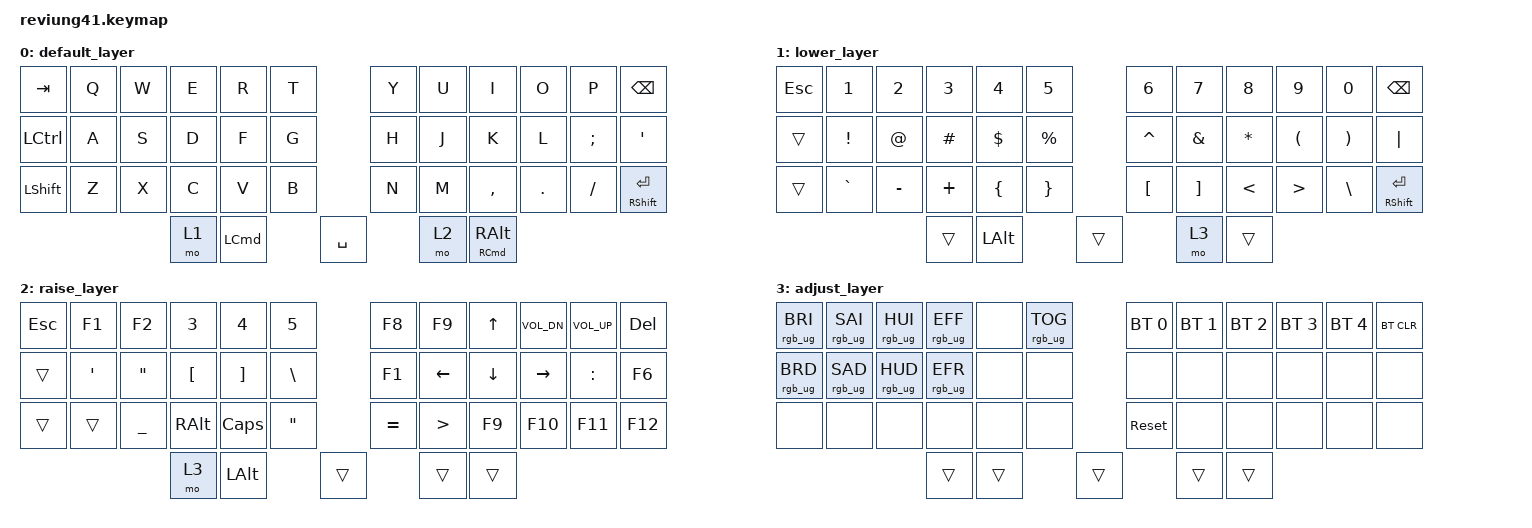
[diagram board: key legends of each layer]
/*
 * Copyright (c) 2020 The ZMK Contributors
 *
 * SPDX-License-Identifier: MIT
 */

#include "reviung41.overlay"

/*
 * https://github.com/zmkfirmware/zmk/pull/1461/files
 */

#include <../boards/shields/reviung41/boards/nice_nano.overlay>
#include <behaviors.dtsi>
#include <dt-bindings/zmk/bt.h>
#include <dt-bindings/zmk/keys.h>
#include <dt-bindings/zmk/rgb.h>

/ {

    behaviors {
        ht_tp: hold_tap {
            compatible = "zmk,behavior-hold-tap";
            #binding-cells = <2>;
            flavor = "tap-preferred";
            tapping-term-ms = <200>;
            quick-tap-ms = <150>;
            require-prior-idle-ms = <125>;
            bindings = <&kp>, <&kp>;
        };
    };

    keymap {
        compatible = "zmk,keymap";

        default_layer {
            // -------------------------------------------------------------------------------------
            // |  TAB |  Q  |  W  |  E  |  R  |  T  |   |  Y  |  U   |  I  |  O  |  P  |   BKSP    |
            // | CTRL |  A  |  S  |  D  |  F  |  G  |   |  H  |  J   |  K  |  L  |  ;  |    '      |
            // | SHFT |  Z  |  X  |  C  |  V  |  B  |   |  N  |  M   |  ,  |  .  |  /  | SHFT(RET) |
            //                         | LCMD | LWR | SPC | RSE  | RCMD |

            bindings = <
&kp TAB    &kp Q  &kp W  &kp E  &kp R             &kp T             &kp Y  &kp U  &kp I                        &kp O    &kp P     &kp BSPC
&kp LCTRL  &kp A  &kp S  &kp D  &kp F             &kp G             &kp H  &kp J  &kp K                        &kp L    &kp SEMI  &kp SQT
&kp LSHFT  &kp Z  &kp X  &kp C  &kp V             &kp B             &kp N  &kp M  &kp COMMA                    &kp DOT  &kp FSLH  &mt RSHFT RET
                         &mo 1  &kp LEFT_COMMAND         &kp SPACE         &mo 2  &ht_tp RIGHT_COMMAND RIGHT_ALT
            >;
        };

        lower_layer {
            // ------------------------------------------------------------------------------------
            // |  ESC  |  1  |  2  |  3  |  4  |  5  |   |  6  |  7  |  8  |  9  |  0  | DEL |
            // |       |  !  |  @  |  #  |  $  | % |   | ^ |  &  |  *  |  (  |  )  |   "|"   |
            // |       |  ~  |  -  |  +  |  {  |  }  |   |  [  |  ]  | < | > | \ | SHFT(SPACE) |
            //                       | ALT |     | RET | ADJ | ALT |

            bindings = <
&kp ESC  &kp N1     &kp N2     &kp N3    &kp N4        &kp N5               &kp N6     &kp N7    &kp N8         &kp N9            &kp N0    &kp BACKSPACE
&trans   &kp EXCL   &kp AT     &kp HASH  &kp DOLLAR    &kp PERCENT          &kp CARET  &kp AMPS  &kp ASTRK      &kp LPAR          &kp RPAR  &kp PIPE
&trans   &kp GRAVE  &kp MINUS  &kp PLUS  &kp LBRC      &kp RBRC             &kp LBKT   &kp RBKT  &kp LESS_THAN  &kp GREATER_THAN  &kp BSLH  &mt RSHFT RET
                               &trans    &kp LEFT_ALT               &trans             &mo 3     &trans
            >;
        };

        raise_layer {
            // ----------------------------------------------------------------------------
            // |    |  1  |  2  |  3  |  4  |  5  |   |  6  |  7  |  UP  |  9  |  0  | DEL |
            // |    |  -  |  =  |  [  |  ]  |  \  |   | F1  | LEFT  | DOWN  | RIGHT  | F5  | F6  |
            // |    | ESC | GUI | ALT | CAPS|  "  |   | F7  | F8  | F9  | F10 | F11 | F12 |
            //                       |     | ADJ | BKSP |    |     |

            bindings = <
&kp ESC  &kp F1            &kp F2             &kp N3    &kp N4    &kp N5            &kp F8     &kp F9    &kp UP    &kp C_VOL_DN  &kp C_VOL_UP  &kp DEL
&trans   &kp SINGLE_QUOTE  &kp DOUBLE_QUOTES  &kp LBKT  &kp RBKT  &kp BSLH          &kp F1     &kp LEFT  &kp DOWN  &kp RIGHT     &kp COLON     &kp F6
&trans   &trans            &kp UNDERSCORE     &kp RALT  &kp CLCK  &kp DQT           &kp EQUAL  &kp GT    &kp F9    &kp F10       &kp F11       &kp F12
                                              &mo 3     &kp LALT            &trans             &trans    &trans
            >;
        };

        adjust_layer {
            // -----------------------------------------------------------------------------------------
            // | RGB BRI+ | RGB SAT+ | RGB HUE+ | RGB ANI+ |    | RGB TOG |   |  BT1  | BT2 | BT3 | BT4 | BT5 | BT CLR |
            // | RGB BRI- | RGB SAT- | RGB HUE- | RGB ANI- |    |         |   |       |     |     |     |     |        |
            // |          |          |          |          |    |         |   |       |     |     |     |     |        |
            //                                              |     |     |     |     |     |

            bindings = <
&rgb_ug RGB_BRI  &rgb_ug RGB_SAI  &rgb_ug RGB_HUI  &rgb_ug RGB_EFF  &none   &rgb_ug RGB_TOG          &bt BT_SEL 0  &bt BT_SEL 1  &bt BT_SEL 2  &bt BT_SEL 3  &bt BT_SEL 4  &bt BT_CLR
&rgb_ug RGB_BRD  &rgb_ug RGB_SAD  &rgb_ug RGB_HUD  &rgb_ug RGB_EFR  &none   &none                    &none         &none         &none         &none         &none         &none
&none            &none            &none            &none            &none   &none                    &sys_reset    &none         &none         &none         &none         &none
                                                   &trans           &trans                   &trans                &trans        &trans
            >;
        };
    };
};
